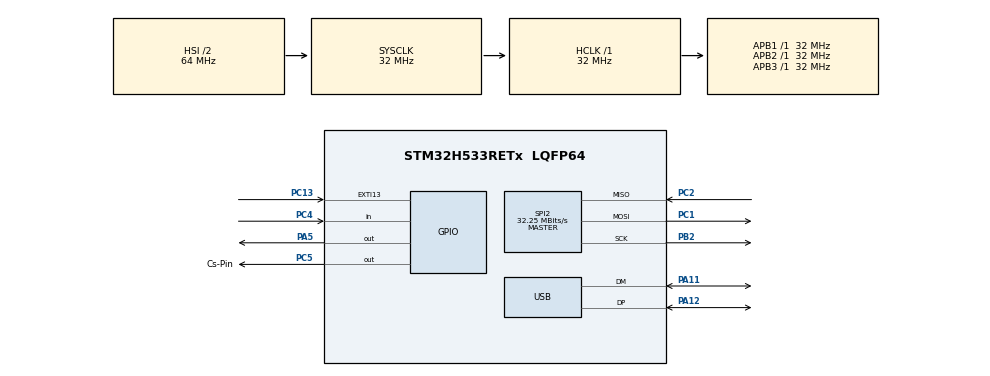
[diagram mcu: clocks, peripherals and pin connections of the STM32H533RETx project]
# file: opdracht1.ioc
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BOOTPATH.BootPathName=LEGACY
BOOTPATH.UserSelectedBootPath=LEGACY
CORTEX_M33_NS.userName=CORTEX_M33
Mcu.Family=STM32H5
Mcu.Name=STM32H533RETx
Mcu.Package=LQFP64
NUCLEO-H533RE.BUTTON=1
NUCLEO-H533RE.LD4=true
NUCLEO-H533RE.VCP=true
NVIC.EXTI13_IRQn=true\:0\:0\:false\:false\:true\:false\:true\:true
NVIC.PriorityGroup=NVIC_PRIORITYGROUP_4
NVIC.USB_DRD_FS_IRQn=true\:0\:0\:false\:false\:true\:true\:true\:true
PA11.Mode=Device
PA11.Signal=USB_DM
PA12.Mode=Device
PA12.Signal=USB_DP
PA13(JTMS/SWDIO).GPIO_Label=SWDIO
PA13(JTMS/SWDIO).Signal=DEBUG_JTMS-SWDIO
PA14(JTCK/SWCLK).GPIO_Label=SWCLK
PA14(JTCK/SWCLK).Signal=DEBUG_JTCK-SWCLK
PA15(JTDI).GPIO_Label=JTDI
PA15(JTDI).Signal=DEBUG_JTDI
PA2.Signal=USART2_TX
PA3.Signal=USART2_RX
PA5.Signal=GPIO_Output
PB2.Mode=Full_Duplex_Master
PB2.Signal=SPI2_SCK
PB3(JTDO/TRACESWO).GPIO_Label=SWO
PB3(JTDO/TRACESWO).Signal=DEBUG_JTDO-SWO
PC1.Mode=Full_Duplex_Master
PC1.Signal=SPI2_MOSI
PC13.Signal=GPXTI13
PC2.Mode=Full_Duplex_Master
PC2.Signal=SPI2_MISO
PC4.Signal=GPIO_Input
PC5.GPIO_Label=Cs-Pin
PC5.PinState=GPIO_PIN_SET
PC5.Signal=GPIO_Output
ProjectManager.HeapSize=0x200
ProjectManager.StackSize=0x400
ProjectManager.TargetToolchain=MDK-ARM V5.37
RCC.ADCFreq_Value=32000000
RCC.AHBFreq_Value=32000000
RCC.APB1Freq_Value=32000000
RCC.APB1TimFreq_Value=32000000
RCC.APB2Freq_Value=32000000
RCC.APB2TimFreq_Value=32000000
RCC.APB3Freq_Value=32000000
RCC.CSI_VALUE=4000000
RCC.CortexFreq_Value=32000000
RCC.EPOD_VALUE=4000000
RCC.HCLKFreq_Value=32000000
RCC.HSE_VALUE=25000000
RCC.HSI48_VALUE=48000000
RCC.HSI_VALUE=64000000
RCC.LSE_VALUE=32768
RCC.LSIRC_VALUE=32000
RCC.SYSCLKFreq_VALUE=32000000
RCC.USBFreq_Value=48000000
RCC.VCOOutputFreq_Value=516000000
SPI2.BaudRatePrescaler=SPI_BAUDRATEPRESCALER_8
SPI2.CalculateBaudRate=32.25 MBits/s
SPI2.DataSize=SPI_DATASIZE_8BIT
SPI2.Direction=SPI_DIRECTION_2LINES
SPI2.Mode=SPI_MODE_MASTER
SPI2.VirtualType=VM_MASTER
USB.VirtualMode=Device_Only
VP_BOOTPATH_VS_BOOTPATH.Mode=BP_Activate
VP_CORTEX_M33_NS_VS_Hclk.Mode=Hclk_Mode
VP_MEMORYMAP_VS_MEMORYMAP.Mode=CurAppReg
VP_NUCLEO-H533RE_VS_BSP_COMMON.Mode=COMMON
VP_PWR_VS_LPOM.Mode=PowerOptimisation
VP_PWR_VS_SECSignals.Mode=Security/Privilege
board=NUCLEO-H533RE

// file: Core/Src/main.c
/* USER CODE BEGIN Header */
/**
  ******************************************************************************
  * @file           : main.c
  * @brief          : Main program body
  ******************************************************************************
  * @attention
  *
  * Copyright (c) 2026 STMicroelectronics.
  * All rights reserved.
  *
  * This software is licensed under terms that can be found in the LICENSE file
  * in the root directory of this software component.
  * If no LICENSE file comes with this software, it is provided AS-IS.
  *
  ******************************************************************************
  */
/* USER CODE END Header */
#include "main.h"

/* USER CODE BEGIN Includes */
#include "tusb.h"
#include <stdbool.h>
#include <string.h>
/* USER CODE END Includes */

COM_InitTypeDef BspCOMInit;

SPI_HandleTypeDef hspi2;

PCD_HandleTypeDef hpcd_USB_DRD_FS;

/* USER CODE BEGIN PV */

// Button Matrix State Variables
typedef struct {
  bool current_state;      // Current button state (pressed/released)
  bool previous_state;     // Previous button state for edge detection
  uint32_t last_change_time; // Last time the state changed (for debouncing)
  bool debounce_stable;    // Is the button state stable after debouncing?
} ButtonState_t;

ButtonState_t button_matrix[MATRIX_ROWS][MATRIX_COLS];

/* USER CODE END PV */

void SystemClock_Config(void);
static void MX_GPIO_Init(void);
static void MX_USB_PCD_Init(void);
static void MX_SPI2_Init(void);
/* USER CODE BEGIN PFP */
void MCP23S17_WriteRegister(uint8_t reg, uint8_t value);
uint8_t MCP23S17_ReadRegister(uint8_t reg);
void MCP23S17_Init(void);
void ScanButtonMatrix(void);
void ProcessButtonEvents(void);
/* USER CODE END PFP */

/* USER CODE BEGIN 0 */

// TinyUSB requires this function for timing
uint32_t tusb_time_millis_api(void) {
  return HAL_GetTick();
}

/**
 * @brief Write a value to an MCP23S17 register
 * @param reg: Register address
 * @param value: Value to write
 */
void MCP23S17_WriteRegister(uint8_t reg, uint8_t value) {
  uint8_t tx_data[3];

  tx_data[0] = MCP23S17_WRITE_CMD;  // Control byte (write)
  tx_data[1] = reg;                  // Register address
  tx_data[2] = value;                // Data to write

  // Pull CS low
  HAL_GPIO_WritePin(Cs_Pin_GPIO_Port, Cs_Pin_Pin, GPIO_PIN_RESET);

  // Send data via SPI
  HAL_SPI_Transmit(&hspi2, tx_data, 3, HAL_MAX_DELAY);

  // Pull CS high
  HAL_GPIO_WritePin(Cs_Pin_GPIO_Port, Cs_Pin_Pin, GPIO_PIN_SET);
}

/**
 * @brief Read a value from an MCP23S17 register
 * @param reg: Register address
 * @return Value read from register
 */
uint8_t MCP23S17_ReadRegister(uint8_t reg) {
  uint8_t tx_data[2];
  uint8_t rx_data = 0;

  tx_data[0] = MCP23S17_READ_CMD;   // Control byte (read)
  tx_data[1] = reg;                  // Register address

  // Pull CS low
  HAL_GPIO_WritePin(Cs_Pin_GPIO_Port, Cs_Pin_Pin, GPIO_PIN_RESET);

  // Send command and register address
  HAL_SPI_Transmit(&hspi2, tx_data, 2, HAL_MAX_DELAY);

  // Read data
  HAL_SPI_Receive(&hspi2, &rx_data, 1, HAL_MAX_DELAY);

  // Pull CS high
  HAL_GPIO_WritePin(Cs_Pin_GPIO_Port, Cs_Pin_Pin, GPIO_PIN_SET);

  return rx_data;
}

/**
 * @brief Initialize the MCP23S17 for button matrix scanning
 */
void MCP23S17_Init(void) {
  // Small delay for MCP23S17 power-up
  HAL_Delay(10);

  // Configure IOCON register (optional - default settings are usually fine)
  // BANK=0, MIRROR=0, SEQOP=0, DISSLW=0, HAEN=1, ODR=0, INTPOL=0
  MCP23S17_WriteRegister(MCP23S17_IOCON, 0x08); // Enable hardware addressing

  // Configure Port A (GPA0-GPA3) as OUTPUTS for columns
  MCP23S17_WriteRegister(MCP23S17_IODIRA, 0x00); // All outputs

  // Configure Port B (GPB0-GPB3) as INPUTS for rows
  MCP23S17_WriteRegister(MCP23S17_IODIRB, 0x0F); // Lower 4 bits as inputs

  // Enable internal pull-up resistors on Port B (rows)
  MCP23S17_WriteRegister(MCP23S17_GPPUB, 0x0F); // Pull-ups on GPB0-GPB3

  // Set all columns HIGH initially (inactive state)
  MCP23S17_WriteRegister(MCP23S17_GPIOA, 0xFF);

  // DEBUG: Verify SPI communication by reading back registers
  uint8_t test_read = MCP23S17_ReadRegister(MCP23S17_IODIRA);
  if (test_read == 0x00) {
    // SPI communication works! Blink LED rapidly 3 times
    for(int i = 0; i < 3; i++) {
      BSP_LED_On(LED_GREEN);
      HAL_Delay(100);
      BSP_LED_Off(LED_GREEN);
      HAL_Delay(100);
    }
  } else {
    // SPI communication FAILED! LED stays ON
    BSP_LED_On(LED_GREEN);
    HAL_Delay(2000);
  }
}

/**
 * @brief Scan the 4x4 button matrix and update button states
 */
void ScanButtonMatrix(void) {
  static uint32_t last_scan = 0;
  uint32_t now = HAL_GetTick();

  // Scan every 5ms to reduce load
  if (now - last_scan < 5) {
    return;
  }
  last_scan = now;

  for (uint8_t col = 0; col < MATRIX_COLS; col++) {
    // Step 1: Set active column LOW, others HIGH
    uint8_t col_pattern = ~(1 << col); // e.g., col=0 → 0b11111110
    MCP23S17_WriteRegister(MCP23S17_GPIOA, col_pattern);

    // Small delay for signal stabilization (use microseconds if available)
    for(volatile int i = 0; i < 100; i++); // ~10us delay

    // Step 2: Read row values from Port B
    uint8_t row_values = MCP23S17_ReadRegister(MCP23S17_GPIOB);

    // Step 3: Check each row
    for (uint8_t row = 0; row < MATRIX_ROWS; row++) {
      // Button is pressed when row reads LOW (pulled down through button)
      bool is_pressed = !(row_values & (1 << row));

      ButtonState_t* btn = &button_matrix[row][col];

      // Debouncing logic
      if (is_pressed != btn->current_state) {
        // State change detected
        if ((now - btn->last_change_time) > DEBOUNCE_TIME_MS) {
          // Enough time has passed, accept the state change
          btn->previous_state = btn->current_state;
          btn->current_state = is_pressed;
          btn->last_change_time = now;
          btn->debounce_stable = true;

          // DEBUG: Toggle LED on any button state change
          BSP_LED_Toggle(LED_GREEN);
        }
      }
    }
  }

  // Deactivate all columns after scanning
  MCP23S17_WriteRegister(MCP23S17_GPIOA, 0xFF);
}

/**
 * @brief Process button state changes and send MIDI messages
 */
void ProcessButtonEvents(void) {
  for (uint8_t row = 0; row < MATRIX_ROWS; row++) {
    for (uint8_t col = 0; col < MATRIX_COLS; col++) {
      ButtonState_t* btn = &button_matrix[row][col];

      // Check for state change (button press or release)
      if (btn->debounce_stable) {
        // Calculate MIDI note number
        uint8_t midi_note = BASE_NOTE + (row * 4) + col;

        if (btn->current_state) {
          // Button pressed → Send Note ON
          uint8_t note_on[3] = {0x90, midi_note, 127}; // Channel 1, velocity 127

          if (tud_mounted()) {
            tud_midi_stream_write(0, note_on, 3);
          }
        } else {
          // Button released → Send Note OFF
          uint8_t note_off[3] = {0x80, midi_note, 0}; // Channel 1, velocity 0

          if (tud_mounted()) {
            tud_midi_stream_write(0, note_off, 3);
          }
        }

        // Mark as processed
        btn->debounce_stable = false;
      }
    }
  }
}

/* USER CODE END 0 */

int main(void)
{

  /* MCU Configuration--------------------------------------------------------*/

  /* Reset of all peripherals, Initializes the Flash interface and the Systick. */
  HAL_Init();

  /* Configure the system clock */
  SystemClock_Config();

  /* Initialize all configured peripherals */
  MX_GPIO_Init();
  MX_USB_PCD_Init();
  MX_SPI2_Init();
  /* USER CODE BEGIN 2 */

  // Initialize TinyUSB stack (CRITICAL - was missing!)
  tusb_init();

  // Enable USB pull-up to signal device presence to host
  HAL_PCD_DevConnect(&hpcd_USB_DRD_FS);

  // Initialize MCP23S17 I/O expander
  MCP23S17_Init();

  // Initialize button matrix state
  memset(button_matrix, 0, sizeof(button_matrix));

  /* USER CODE END 2 */

  /* Initialize leds */
  BSP_LED_Init(LED_GREEN);

  /* Initialize USER push-button, will be used to trigger an interrupt each time it's pressed.*/
  BSP_PB_Init(BUTTON_USER, BUTTON_MODE_EXTI);

  /* Initialize COM1 port (115200, 8 bits (7-bit data + 1 stop bit), no parity */
  BspCOMInit.BaudRate   = 115200;
  BspCOMInit.WordLength = COM_WORDLENGTH_8B;
  BspCOMInit.StopBits   = COM_STOPBITS_1;
  BspCOMInit.Parity     = COM_PARITY_NONE;
  BspCOMInit.HwFlowCtl  = COM_HWCONTROL_NONE;
  if (BSP_COM_Init(COM1, &BspCOMInit) != BSP_ERROR_NONE)
  {
    Error_Handler();
  }

  /* Infinite loop */
  /* USER CODE BEGIN WHILE */

  while (1)
  {
    // 1. TinyUSB Task (keeps the USB connection alive)
    tud_task();

    // 2. Scan the button matrix
    ScanButtonMatrix();

    // 3. Process button events and send MIDI messages
    ProcessButtonEvents();

    /* USER CODE END WHILE */

  }
}

void SystemClock_Config(void)
{
  RCC_OscInitTypeDef RCC_OscInitStruct = {0};
  RCC_ClkInitTypeDef RCC_ClkInitStruct = {0};

  /** Configure the main internal regulator output voltage
  */
  __HAL_PWR_VOLTAGESCALING_CONFIG(PWR_REGULATOR_VOLTAGE_SCALE3);

  while(!__HAL_PWR_GET_FLAG(PWR_FLAG_VOSRDY)) {}

  /** Initializes the RCC Oscillators according to the specified parameters
  * in the RCC_OscInitTypeDef structure.
  */
  RCC_OscInitStruct.OscillatorType = RCC_OSCILLATORTYPE_HSI48|RCC_OSCILLATORTYPE_HSI
                              |RCC_OSCILLATORTYPE_CSI;
  RCC_OscInitStruct.HSIState = RCC_HSI_ON;
  RCC_OscInitStruct.HSIDiv = RCC_HSI_DIV2;
  RCC_OscInitStruct.HSICalibrationValue = RCC_HSICALIBRATION_DEFAULT;
  RCC_OscInitStruct.HSI48State = RCC_HSI48_ON;
  RCC_OscInitStruct.CSIState = RCC_CSI_ON;
  RCC_OscInitStruct.CSICalibrationValue = RCC_CSICALIBRATION_DEFAULT;
  RCC_OscInitStruct.PLL.PLLState = RCC_PLL_ON;
  RCC_OscInitStruct.PLL.PLLSource = RCC_PLL1_SOURCE_CSI;
  RCC_OscInitStruct.PLL.PLLM = 1;
  RCC_OscInitStruct.PLL.PLLN = 129;
  RCC_OscInitStruct.PLL.PLLP = 2;
  RCC_OscInitStruct.PLL.PLLQ = 2;
  RCC_OscInitStruct.PLL.PLLR = 2;
  RCC_OscInitStruct.PLL.PLLRGE = RCC_PLL1_VCIRANGE_2;
  RCC_OscInitStruct.PLL.PLLVCOSEL = RCC_PLL1_VCORANGE_WIDE;
  RCC_OscInitStruct.PLL.PLLFRACN = 0;
  if (HAL_RCC_OscConfig(&RCC_OscInitStruct) != HAL_OK)
  {
    Error_Handler();
  }

  /** Initializes the CPU, AHB and APB buses clocks
  */
  RCC_ClkInitStruct.ClockType = RCC_CLOCKTYPE_HCLK|RCC_CLOCKTYPE_SYSCLK
                              |RCC_CLOCKTYPE_PCLK1|RCC_CLOCKTYPE_PCLK2
                              |RCC_CLOCKTYPE_PCLK3;
  RCC_ClkInitStruct.SYSCLKSource = RCC_SYSCLKSOURCE_HSI;
  RCC_ClkInitStruct.AHBCLKDivider = RCC_SYSCLK_DIV1;
  RCC_ClkInitStruct.APB1CLKDivider = RCC_HCLK_DIV1;
  RCC_ClkInitStruct.APB2CLKDivider = RCC_HCLK_DIV1;
  RCC_ClkInitStruct.APB3CLKDivider = RCC_HCLK_DIV1;

  if (HAL_RCC_ClockConfig(&RCC_ClkInitStruct, FLASH_LATENCY_1) != HAL_OK)
  {
    Error_Handler();
  }

  /** Configure the programming delay
  */
  __HAL_FLASH_SET_PROGRAM_DELAY(FLASH_PROGRAMMING_DELAY_0);
}

static void MX_SPI2_Init(void)
{

  /* SPI2 parameter configuration*/
  hspi2.Instance = SPI2;
  hspi2.Init.Mode = SPI_MODE_MASTER;
  hspi2.Init.Direction = SPI_DIRECTION_2LINES;
  hspi2.Init.DataSize = SPI_DATASIZE_8BIT;
  hspi2.Init.CLKPolarity = SPI_POLARITY_LOW;
  hspi2.Init.CLKPhase = SPI_PHASE_1EDGE;
  hspi2.Init.NSS = SPI_NSS_SOFT;
  hspi2.Init.BaudRatePrescaler = SPI_BAUDRATEPRESCALER_8;
  hspi2.Init.FirstBit = SPI_FIRSTBIT_MSB;
  hspi2.Init.TIMode = SPI_TIMODE_DISABLE;
  hspi2.Init.CRCCalculation = SPI_CRCCALCULATION_DISABLE;
  hspi2.Init.CRCPolynomial = 0x7;
  hspi2.Init.NSSPMode = SPI_NSS_PULSE_ENABLE;
  hspi2.Init.NSSPolarity = SPI_NSS_POLARITY_LOW;
  hspi2.Init.FifoThreshold = SPI_FIFO_THRESHOLD_01DATA;
  hspi2.Init.MasterSSIdleness = SPI_MASTER_SS_IDLENESS_00CYCLE;
  hspi2.Init.MasterInterDataIdleness = SPI_MASTER_INTERDATA_IDLENESS_00CYCLE;
  hspi2.Init.MasterReceiverAutoSusp = SPI_MASTER_RX_AUTOSUSP_DISABLE;
  hspi2.Init.MasterKeepIOState = SPI_MASTER_KEEP_IO_STATE_DISABLE;
  hspi2.Init.IOSwap = SPI_IO_SWAP_DISABLE;
  hspi2.Init.ReadyMasterManagement = SPI_RDY_MASTER_MANAGEMENT_INTERNALLY;
  hspi2.Init.ReadyPolarity = SPI_RDY_POLARITY_HIGH;
  if (HAL_SPI_Init(&hspi2) != HAL_OK)
  {
    Error_Handler();
  }

}

static void MX_USB_PCD_Init(void)
{

  hpcd_USB_DRD_FS.Instance = USB_DRD_FS;
  hpcd_USB_DRD_FS.Init.dev_endpoints = 8;
  hpcd_USB_DRD_FS.Init.speed = USBD_FS_SPEED;
  hpcd_USB_DRD_FS.Init.phy_itface = PCD_PHY_EMBEDDED;
  hpcd_USB_DRD_FS.Init.Sof_enable = DISABLE;
  hpcd_USB_DRD_FS.Init.low_power_enable = DISABLE;
  hpcd_USB_DRD_FS.Init.lpm_enable = DISABLE;
  hpcd_USB_DRD_FS.Init.battery_charging_enable = DISABLE;
  hpcd_USB_DRD_FS.Init.vbus_sensing_enable = DISABLE;
  hpcd_USB_DRD_FS.Init.bulk_doublebuffer_enable = DISABLE;
  hpcd_USB_DRD_FS.Init.iso_singlebuffer_enable = DISABLE;
  if (HAL_PCD_Init(&hpcd_USB_DRD_FS) != HAL_OK)
  {
    Error_Handler();
  }

}

static void MX_GPIO_Init(void)
{
  GPIO_InitTypeDef GPIO_InitStruct = {0};

  /* GPIO Ports Clock Enable */
  __HAL_RCC_GPIOC_CLK_ENABLE();
  __HAL_RCC_GPIOB_CLK_ENABLE();
  __HAL_RCC_GPIOA_CLK_ENABLE();

  /*Configure GPIO pin Output Level */
  HAL_GPIO_WritePin(Cs_Pin_GPIO_Port, Cs_Pin_Pin, GPIO_PIN_SET);

  /*Configure GPIO pin : PC4 */
  GPIO_InitStruct.Pin = GPIO_PIN_4;
  GPIO_InitStruct.Mode = GPIO_MODE_INPUT;
  GPIO_InitStruct.Pull = GPIO_NOPULL;
  HAL_GPIO_Init(GPIOC, &GPIO_InitStruct);

  /*Configure GPIO pin : Cs_Pin_Pin */
  GPIO_InitStruct.Pin = Cs_Pin_Pin;
  GPIO_InitStruct.Mode = GPIO_MODE_OUTPUT_PP;
  GPIO_InitStruct.Pull = GPIO_NOPULL;
  GPIO_InitStruct.Speed = GPIO_SPEED_FREQ_LOW;
  HAL_GPIO_Init(Cs_Pin_GPIO_Port, &GPIO_InitStruct);

}

/* USER CODE BEGIN 4 */
uint32_t board_millis(void)
{
  return HAL_GetTick();
}
/* USER CODE END 4 */

void Error_Handler(void)
{
  __disable_irq();
  while (1)
  {
  }
}
